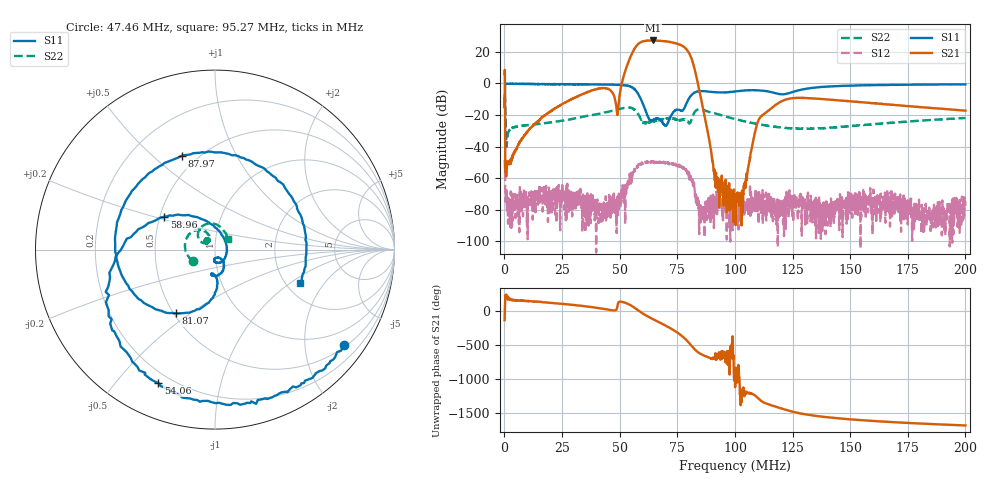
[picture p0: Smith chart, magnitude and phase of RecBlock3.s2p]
! 19-Feb-26 3:14:26 PM
! E:\VNA_MEASUREMENTS\RECBLOCK\RECBLOCK3.S2P
! CHANNEL.1
! TR.MEASUREMENT
! CORRECTED.DATA
# GHZ S RI R 50.0
! FREQ.GHZ  S11RE  S11IM  S21RE  S21IM  S12RE  S12IM  S22RE  S22IM
!; PortSelection: Port_12
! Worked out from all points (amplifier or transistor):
!   2000 points, 50 kHz to 200 MHz, reference 50 ohm
!   highest |S21| = 27.0 dB at 64.47 MHz (marker M1)
!   |S21| within 3 dB of that: 57.53 MHz to 76.6 MHz (19.07 MHz wide, 28.4 % of centre)
!   unconditionally stable (mu >= 1): start of sweep to end of sweep
!   at 33.36 MHz: K = 943.88, MAG = 1.5 dB, |S12| = -75.6 dB
!   at 100.1 MHz: K = 43474522.73, MAG = -73.8 dB, |S12| = -85.4 dB
!   at 200 MHz: K = 4792.44, MAG = -9.3 dB, |S12| = -78.3 dB
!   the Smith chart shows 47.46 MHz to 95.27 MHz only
!   S11 on the Smith chart (normalised r, x): 47.46 MHz: 0.54, -2.94; 54.06 MHz: 0.15, -0.65; 58.96 MHz: 0.53, +0.22; 81.07 MHz: 0.51, -0.44; 87.97 MHz: 0.41, +0.62; 95.27 MHz: 2.38, -1.20
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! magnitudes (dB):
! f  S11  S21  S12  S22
! 50 kHz  -9.4  5.7  -48.4  -6.6
! 1.35 MHz  -0.3  -50.3  -80.3  -32.9
! 13.15 MHz  -0.5  -25.7  -68.0  -26.0
! 33.46 MHz  -0.7  -7.2  -79.1  -21.4
! 47.46 MHz  -0.9  -7.7  -69.7  -17.1
! 49.26 MHz  -0.9  -17.4  -83.4  -16.5
! 54.06 MHz  -1.9  14.5  -62.8  -15.4
! 58.96 MHz  -9.5  25.8  -51.4  -22.2
! 64.47 MHz  -23.2  27.0  -49.8  -23.8
! 66.77 MHz  -22.4  26.8  -49.7  -23.3
! 70.17 MHz  -26.6  26.4  -50.3  -22.4
! 81.07 MHz  -7.6  15.9  -59.4  -23.5
! 84.97 MHz  -5.0  -7.5  -77.0  -16.5
! 87.97 MHz  -5.1  -29.1  -73.2  -17.7
! 92.17 MHz  -5.7  -59.4  -73.5  -19.4
! 95.27 MHz  -5.9  -74.8  -78.8  -20.7
! 100.1 MHz  -5.2  -76.6  -85.4  -22.7
! 103.6 MHz  -4.6  -69.8  -75.4  -23.9
! 111 MHz  -4.6  -21.5  -70.9  -26.0
! 133.4 MHz  -2.9  -9.5  -87.5  -28.6
! 166.7 MHz  -1.1  -13.4  -79.3  -25.2
! 200 MHz  -0.8  -17.3  -78.3  -22.0
